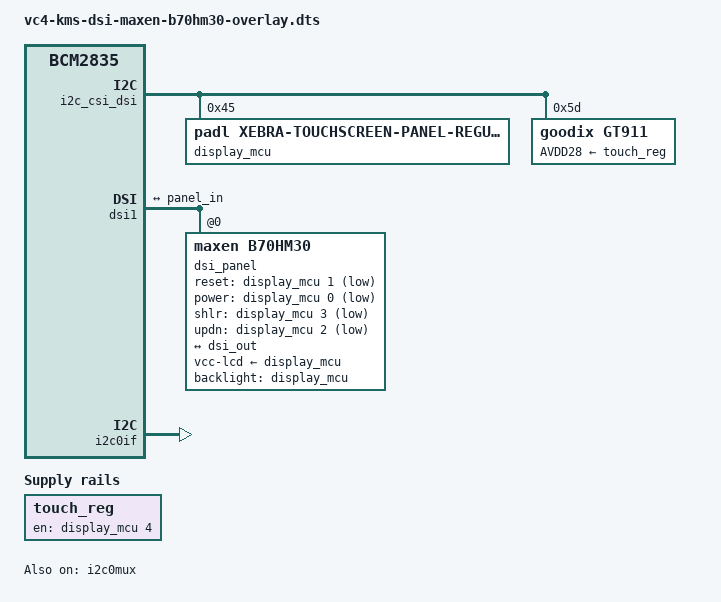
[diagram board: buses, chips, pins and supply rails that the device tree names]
/*
 * vc4-kms-dsi-maxen-b70hm30-overlay.dts
 *
 * Maxen Electronics B70HM30 touchscreen display panel on a PADL XEBRA board.
 */

/dts-v1/;
/plugin/;

#include <dt-bindings/gpio/gpio.h>

/ {
	compatible = "brcm,bcm2835";

	i2c_frag: fragment@0 {
		target = <&i2c_csi_dsi>;
		__overlay__ {
			#address-cells = <1>;
			#size-cells = <0>;
			status = "okay";

			display_mcu: display_mcu@45 {
				compatible = "padl,xebra-touchscreen-panel-regulator";
				reg = <0x45>;
				gpio-controller;
				#gpio-cells = <2>;
			};

			gt911: gt911@5d {
				compatible = "goodix,gt911";
				reg = <0x5d>;
				// irq-gpios = <&display_mcu 4 GPIO_ACTIVE_HIGH>;
				// reset-gpios = <&display_mcu 5 GPIO_ACTIVE_LOW>;
				AVDD28-supply = <&touch_reg>;
				touchscreen-size-x = <600>;
				touchscreen-size-y = <1024>;
				touchscreen-x-mm = <86>;
				touchscreen-y-mm = <154>;
			};
		};
	};

	dsi_frag: fragment@1 {
		target = <&dsi1>;
		__overlay__  {
			#address-cells = <1>;
			#size-cells = <0>;
			status = "okay";

			port {
				dsi_out: endpoint {
					remote-endpoint = <&panel_in>;
				};
			};

			dsi_panel: dsi_panel@0 {
				reg = <0>;
				compatible = "maxen,b70hm30";
				reset-gpio = <&display_mcu 1 GPIO_ACTIVE_LOW>;
				power-gpio = <&display_mcu 0 GPIO_ACTIVE_LOW>;
				shlr-gpio = <&display_mcu 3 GPIO_ACTIVE_LOW>;
				updn-gpio = <&display_mcu 2 GPIO_ACTIVE_LOW>;
				vcc-lcd-supply = <&display_mcu>;
				backlight = <&display_mcu>;

				port {
					panel_in: endpoint {
						remote-endpoint = <&dsi_out>;
					};
				};
			};
		};
	};

	fragment@2 {
		target = <&i2c0if>;
		__overlay__ {
			status = "okay";
		};
	};

	fragment@3 {
		target = <&i2c0mux>;
		__overlay__ {
			status = "okay";
		};
	};

	fragment@4 {
		target-path = "/";
		__overlay__ {
			touch_reg: touch_reg@1 {
				reg = <1>;
				compatible = "regulator-fixed";
				regulator-name = "touch_reg_1";
				gpio = <&display_mcu 4 GPIO_ACTIVE_HIGH>;
				startup-delay-us = <50000>;
				enable-active-high;
			};
		};
	};

	fragment@10 {
		target = <&gt911>;
		__dormant__ {
			touchscreen-inverted-x;
		};
	};

	fragment@11 {
		target = <&gt911>;
		__dormant__ {
			touchscreen-inverted-y;
		};
	};

	__overrides__ {
		dsi0 = <&dsi_frag>, "target:0=",<&dsi0>,
		       <&i2c_frag>, "target:0=",<&i2c_csi_dsi0>,
		       <&touch_reg>, "reg:0=0",
		       <&touch_reg>, "regulator-name=touch_reg_0";
		sizex = <&gt911>,"touchscreen-size-x:0";
		sizey = <&gt911>,"touchscreen-size-y:0";
		invx = <0>, "+10";
		invy = <0>, "+11";
		swapxy = <&gt911>,"touchscreen-swapped-x-y?";
		disable_touch = <&gt911>, "status=disabled";
		rotation = <&dsi_panel>, "rotation:0";
	};
};
